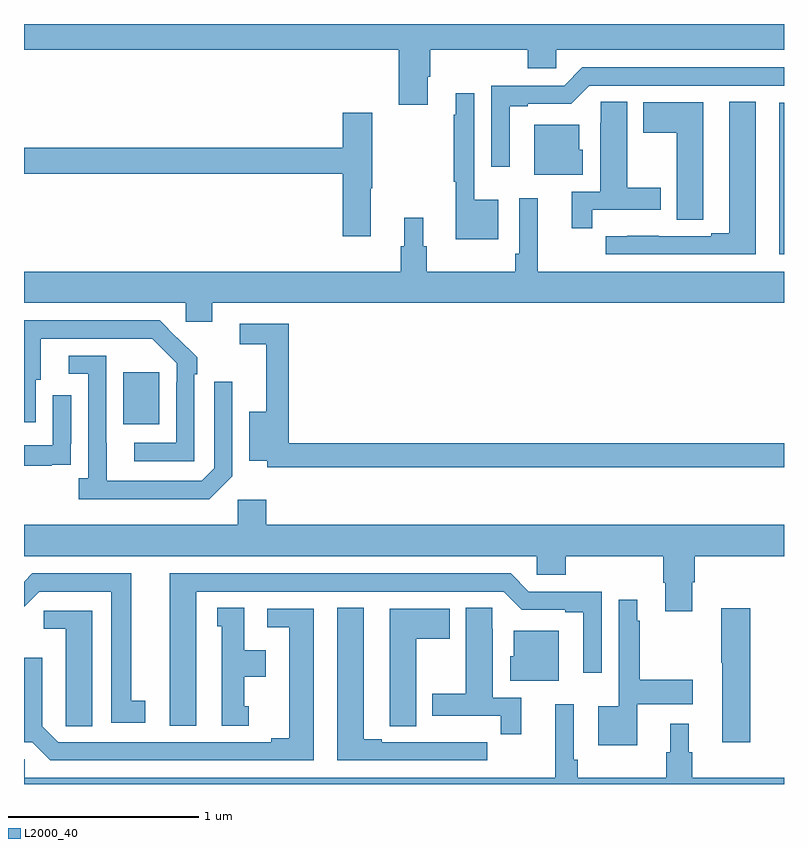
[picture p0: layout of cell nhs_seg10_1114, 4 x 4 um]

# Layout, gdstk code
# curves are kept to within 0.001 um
import gdstk
lib = gdstk.Library(unit=1e-6, precision=1e-09)
def R(c, l, rs):  # rectangles x0, y0, x1, y1
    for r in rs: c.add(gdstk.rectangle(r[:2], r[2:], *l))
def P(c, l, *ps):  # polygons
    for p in ps: c.add(gdstk.Polygon(p, *l))
L2000_40 = (2000, 40)

nhs_seg10_1114 = lib.new_cell('nhs_seg10_1114')
R(nhs_seg10_1114, L2000_40, [(169.523,1250.393,169.711,1250.668), (172.976,1251.288,173,1252.086)])
P(nhs_seg10_1114, L2000_40, [(171.124,1252.222),(171.137,1252.222),(171.137,1252.364),(171.65,1252.364),(171.65,1252.266),(171.801,1252.266),(171.801,1252.364),(173,1252.364),(173,1252.5),(169,1252.5),(169,1252.364),(170.972,1252.364),(170.972,1252.074),(171.124,1252.074)],
  [(171.556,1252.068),(171.652,1252.068),(171.652,1252.08),(171.879,1252.08),(171.975,1252.176),(173,1252.176),(173,1252.272),(171.939,1252.272),(171.843,1252.176),(171.459,1252.176),(171.459,1251.75),(171.556,1251.75)],
  [(171.496,1251.574),(171.369,1251.574),(171.369,1252.135),(171.272,1252.135),(171.272,1252.022),(171.261,1252.022),(171.261,1251.67),(171.272,1251.67),(171.272,1251.368),(171.496,1251.368)],
  [(171.992,1251.522),(172.351,1251.522),(172.351,1251.639),(172.174,1251.639),(172.174,1252.091),(172.035,1252.091),(172.035,1251.98),(172.034,1251.98),(172.034,1251.618),(171.884,1251.618),(171.884,1251.426),(171.992,1251.426)],
  [(172.852,1252.091),(172.712,1252.091),(172.712,1251.399),(172.616,1251.399),(172.616,1251.384),(172.34,1251.384),(172.34,1251.385),(172.174,1251.385),(172.174,1251.384),(172.062,1251.384),(172.062,1251.288),(172.852,1251.288)],
  [(172.575,1251.577),(172.576,1251.577),(172.576,1252.087),(172.259,1252.087),(172.259,1251.928),(172.436,1251.928),(172.436,1251.469),(172.575,1251.469)],
  [(170.824,1251.635),(170.832,1251.635),(170.832,1252.033),(170.678,1252.033),(170.678,1251.848),(169,1251.848),(169,1251.712),(170.678,1251.712),(170.678,1251.384),(170.824,1251.384)],
  [(171.94,1251.837),(171.922,1251.837),(171.922,1251.97),(171.686,1251.97),(171.686,1251.707),(171.94,1251.707)],
  [(169.99,1251.032),(173,1251.032),(173,1251.196),(171.704,1251.196),(171.704,1251.583),(171.606,1251.583),(171.606,1251.292),(171.586,1251.292),(171.586,1251.196),(171.119,1251.196),(171.119,1251.33),(171.1,1251.33),(171.1,1251.481),(171.002,1251.481),(171.002,1251.33),(170.983,1251.33),(170.983,1251.196),(169,1251.196),(169,1251.032),(169.851,1251.032),(169.851,1250.934),(169.99,1250.934)],
  [(169.896,1250.657),(169.911,1250.657),(169.911,1250.745),(169.714,1250.94),(169,1250.94),(169,1250.403),(169.063,1250.403),(169.063,1250.628),(169.087,1250.628),(169.087,1250.844),(169.675,1250.844),(169.803,1250.715),(169.803,1250.615),(169.8,1250.615),(169.8,1250.295),(169.581,1250.295),(169.581,1250.199),(169.896,1250.199)],
  [(173,1250.294),(170.393,1250.294),(170.393,1250.922),(170.136,1250.922),(170.136,1250.814),(170.276,1250.814),(170.276,1250.458),(170.186,1250.458),(170.186,1250.201),(170.28,1250.201),(170.28,1250.166),(173,1250.166)],
  [(170.097,1250.121),(170.097,1250.617),(170.001,1250.617),(170.001,1250.163),(169.935,1250.097),(169.435,1250.097),(169.434,1250.754),(169.236,1250.754),(169.236,1250.658),(169.338,1250.658),(169.338,1250.11),(169.287,1250.11),(169.287,1250),(169.976,1250)],
  [(169.145,1250.181),(169.247,1250.181),(169.247,1250.29),(169.248,1250.29),(169.248,1250.545),(169.152,1250.545),(169.152,1250.283),(169,1250.283),(169,1250.175),(169.145,1250.175)],
  [(172.516,1249.563),(172.529,1249.563),(172.529,1249.7),(173,1249.7),(173,1249.864),(170.276,1249.864),(170.276,1249.996),(170.124,1249.996),(170.124,1249.864),(169,1249.864),(169,1249.7),(171.699,1249.7),(171.699,1249.602),(171.851,1249.602),(171.851,1249.7),(172.364,1249.7),(172.364,1249.558),(172.376,1249.558),(172.376,1249.41),(172.516,1249.41)],
  [(169.906,1249.512),(171.525,1249.512),(171.621,1249.416),(171.848,1249.416),(171.848,1249.404),(171.944,1249.404),(171.944,1249.086),(172.041,1249.086),(172.041,1249.512),(171.657,1249.512),(171.561,1249.608),(169.766,1249.608),(169.766,1248.807),(169.906,1248.807)],
  [(169.639,1248.938),(169.564,1248.938),(169.564,1249.608),(169.044,1249.608),(169,1249.564),(169,1249.432),(169.08,1249.512),(169.46,1249.512),(169.46,1248.822),(169.639,1248.822)],
  [(172.228,1248.92),(172.519,1248.92),(172.519,1249.05),(172.24,1249.05),(172.24,1249.358),(172.228,1249.358),(172.228,1249.471),(172.131,1249.471),(172.131,1248.91),(172.022,1248.91),(172.022,1248.704),(172.228,1248.704)],
  [(170.182,1248.909),(170.158,1248.909),(170.158,1249.064),(170.272,1249.064),(170.272,1249.204),(170.158,1249.204),(170.158,1249.427),(170.018,1249.427),(170.018,1249.329),(170.042,1249.329),(170.042,1248.807),(170.182,1248.807)],
  [(171.439,1248.72),(171.326,1248.72),(171.326,1248.721),(171.16,1248.721),(171.16,1248.72),(170.884,1248.72),(170.884,1248.735),(170.788,1248.735),(170.788,1249.427),(170.648,1249.427),(170.648,1248.624),(171.439,1248.624)],
  [(171.617,1248.954),(171.466,1248.954),(171.466,1249.316),(171.465,1249.316),(171.465,1249.427),(171.326,1249.427),(171.326,1248.975),(171.149,1248.975),(171.149,1248.858),(171.508,1248.858),(171.508,1248.762),(171.617,1248.762)],
  [(172.823,1249.426),(172.669,1249.426),(172.669,1249.138),(172.676,1249.138),(172.676,1248.72),(172.823,1248.72)],
  [(171.064,1249.264),(171.241,1249.264),(171.241,1249.423),(170.924,1249.423),(170.924,1248.913),(170.925,1248.913),(170.925,1248.805),(171.064,1248.805)],
  [(170.524,1249.422),(170.28,1249.422),(170.28,1249.326),(170.396,1249.326),(170.396,1248.74),(170.3,1248.74),(170.3,1248.72),(169.179,1248.72),(169.095,1248.804),(169.095,1249.165),(169,1249.165),(169,1248.72),(169.043,1248.72),(169.139,1248.624),(170.524,1248.624)],
  [(169.36,1249.413),(169.104,1249.413),(169.104,1249.316),(169.22,1249.316),(169.22,1248.913),(169.221,1248.913),(169.221,1248.805),(169.36,1248.805)],
  [(171.814,1249.306),(171.578,1249.306),(171.578,1249.173),(171.56,1249.173),(171.56,1249.043),(171.814,1249.043)],
  [(173,1248.532),(172.517,1248.532),(172.517,1248.666),(172.498,1248.666),(172.498,1248.817),(172.4,1248.817),(172.4,1248.666),(172.381,1248.666),(172.381,1248.532),(171.914,1248.532),(171.914,1248.628),(171.894,1248.628),(171.894,1248.919),(171.797,1248.919),(171.797,1248.532),(169.005,1248.532),(169.005,1248.63),(169,1248.63),(169,1248.5),(173,1248.5)])

lib.write_gds('nhs_seg10_1114.gds')
